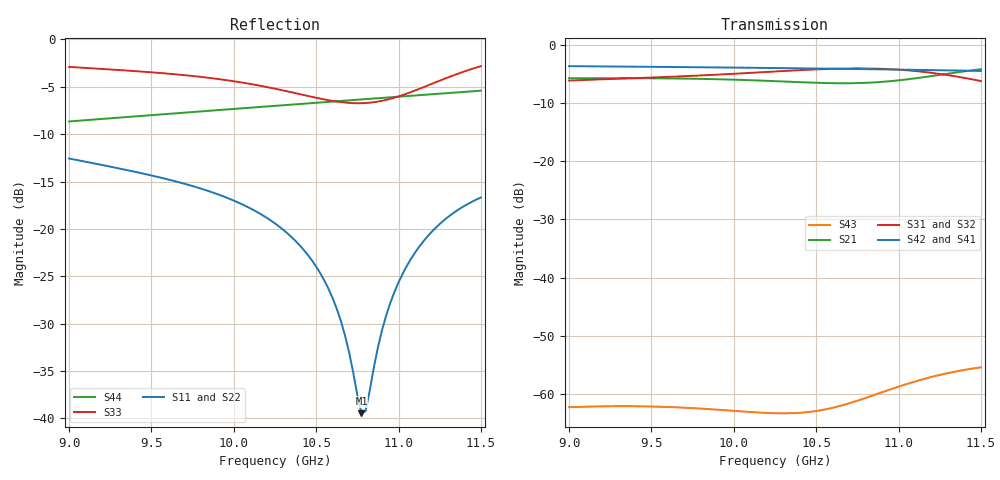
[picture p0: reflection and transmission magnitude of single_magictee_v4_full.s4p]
! Generated from PyAEDT SolutionData; AEDT ExportNetworkData workaround
# GHz S MA R 50
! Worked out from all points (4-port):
!   101 points, 9 GHz to 11.5 GHz, reference 50 ohm
!   strongest paths, dB at 9 GHz, 9.625 GHz, 10.25 GHz, 10.88 GHz, 11.5 GHz:
!     S42: -3.6, -3.8, -4.0, -4.2, -4.5
!     S41: -3.6, -3.8, -4.0, -4.2, -4.5
!     S31: -6.1, -5.5, -4.6, -4.1, -6.2
!     S32: -6.1, -5.5, -4.6, -4.1, -6.2
!     S21: -5.7, -5.8, -6.2, -6.4, -4.2
!     S43: -62.3, -62.3, -63.3, -59.9, -55.4
!   lowest |S11| = -39.5 dB at 10.78 GHz (marker M1), VSWR 1.02, Z = 49 - j0.425 ohm
!   |S11| at or under -10 dB: start of sweep to end of sweep
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9  0.2352 144.0  0.5184 -176.3  0.4941 -95.3  0.6572 46.2
   0.5184 -176.3  0.2358 144.1  0.4936 -95.3  0.6573 -133.9
   0.4941 -95.3  0.4936 -95.3  0.7157 177.8  0.0007698 120.9
   0.6572 46.2  0.6573 -133.9  0.0007698 120.9  0.369 -115.4
9.4  0.2001 97.4  0.5177 139.4  0.5187 -165.2  0.6502 0.5
     0.5177 139.4  0.2004 97.5  0.5181 -165.2  0.6506 -179.5
     0.5187 -165.2  0.5181 -165.2  0.68 81.5  0.0007848 44.9
     0.6502 0.5  0.6506 -179.5  0.0007848 44.9  0.3922 -158.3
10.025  0.138 21.2  0.5019 73.3  0.568 87.7  0.6375 -67.7
        0.5019 73.3  0.1376 21.1  0.567 87.7  0.6385 112.2
        0.568 87.7  0.567 87.7  0.5965 -67.4  0.0007128 -63.0
        0.6375 -67.7  0.6385 112.2  0.0007128 -63.0  0.4312 136.6
10.425  0.0774 -35.3  0.4776 34.9  0.6096 17.3  0.628 -110.1
        0.4776 34.9  0.07738 -36.0  0.6082 17.3  0.6294 69.9
        0.6096 17.3  0.6082 17.3  0.5085 -172.0  0.0006939 -117.1
        0.628 -110.1  0.6294 69.9  0.0006939 -117.1  0.4577 95.7
10.775  0.01065 -156.0  0.4714 6.4  0.6285 -47.6  0.6186 -146.5
        0.4714 6.4  0.01216 -152.7  0.6268 -47.6  0.6204 33.5
        0.6285 -47.6  0.6268 -47.6  0.4606 78.9  0.0009002 -161.5
        0.6186 -146.5  0.6204 33.5  0.0009002 -161.5  0.4821 60.1
11.1  0.07493 58.2  0.5165 -18.9  0.5973 -110.1  0.609 -179.9
      0.5165 -18.9  0.0725 59.1  0.5955 -110.0  0.611 -0.0
      0.5973 -110.1  0.5955 -110.0  0.5373 -28.9  0.001281 143.8
      0.609 -179.9  0.611 -0.0  0.001281 143.8  0.5057 27.2
11.5  0.1465 -6.9  0.6193 -56.4  0.4899 174.5  0.5959 139.3
      0.6193 -56.4  0.1431 -7.2  0.4884 174.6  0.5979 -40.9
      0.4899 174.5  0.4884 174.6  0.7221 -143.3  0.001695 64.9
      0.5959 139.3  0.5979 -40.9  0.001695 64.9  0.5362 -13.4
